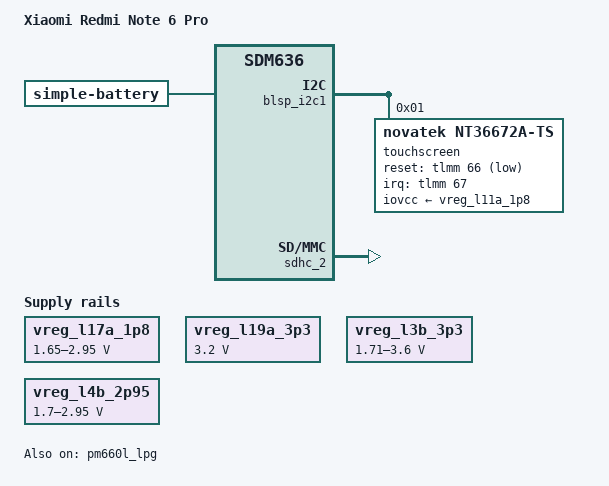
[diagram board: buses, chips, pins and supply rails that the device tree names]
// SPDX-License-Identifier: GPL-2.0-only
/*
 * Copyright (c) 2022, Gianluca Boiano <morf3089@gmail.com>
 */

/dts-v1/;

#include "sdm636.dtsi"
#include "sdm660-xiaomi-common.dtsi"
#include <dt-bindings/gpio/gpio.h>
#include <dt-bindings/leds/common.h>

/ {
	model = "Xiaomi Redmi Note 6 Pro";
	compatible = "xiaomi,tulip", "qcom,sdm636";
	chassis-type = "handset";

	battery: battery {
		compatible = "simple-battery";
		charge-full-design-microamp-hours = <4000000>;
		voltage-min-design-microvolt = <3400000>;
		voltage-max-design-microvolt = <4408000>;
	};
};

&blsp_i2c1 {
	status = "okay";

	touchscreen@1 {
		compatible = "novatek,nt36672a-ts";
		reg = <0x1>;
		iovcc-supply = <&vreg_l11a_1p8>;
		interrupts-extended = <&tlmm 67 IRQ_TYPE_EDGE_RISING>;
		pinctrl-0 = <&ts_active>;
		pinctrl-names = "default";
		reset-gpios = <&tlmm 66 GPIO_ACTIVE_LOW>;
		touchscreen-size-x = <1080>;
		touchscreen-size-y = <2280>;
	};
};

&framebuffer_mem {
	reg = <0x0 0x9d400000 0x0 0x964b00>;
};

&framebuffer0 {
	width = <1080>;
	height = <2280>;
	stride = <(1080 * 4)>;

	status = "okay";
};

&pm660_charger {
	monitored-battery = <&battery>;
};

&pm660l_lpg {
	#address-cells = <1>;
	#size-cells = <0>;
	qcom,power-source = <1>;

	status = "okay";

	led@3 {
		reg = <3>;
		color = <LED_COLOR_ID_WHITE>;
		function = LED_FUNCTION_STATUS;
	};
};

&sdhc_2 {
	status = "okay";
};

&tlmm {
	gpio-reserved-ranges = <8 4>; /* Fingerprint SPI */

	ts_active: ts-active-state {
		pins = "gpio66", "gpio67";
		function = "gpio";
		drive-strength = <16>;
		bias-pull-up;
	};
};

&vreg_l16a_2p7 {
	regulator-always-on;
};

&vreg_l17a_1p8 {
	regulator-min-microvolt = <1650000>;
	regulator-max-microvolt = <2950000>;
};

&vreg_l19a_3p3 {
	regulator-min-microvolt = <3200000>;
};

&vreg_l3b_3p3 {
	regulator-min-microvolt = <1710000>;
	regulator-max-microvolt = <3600000>;
	regulator-always-on;
};

&vreg_l4b_2p95 {
	regulator-min-microvolt = <1700000>;
	regulator-max-microvolt = <2950000>;
};

&vreg_l8a_1p8 {
	regulator-max-microvolt = <1900000>;
};
